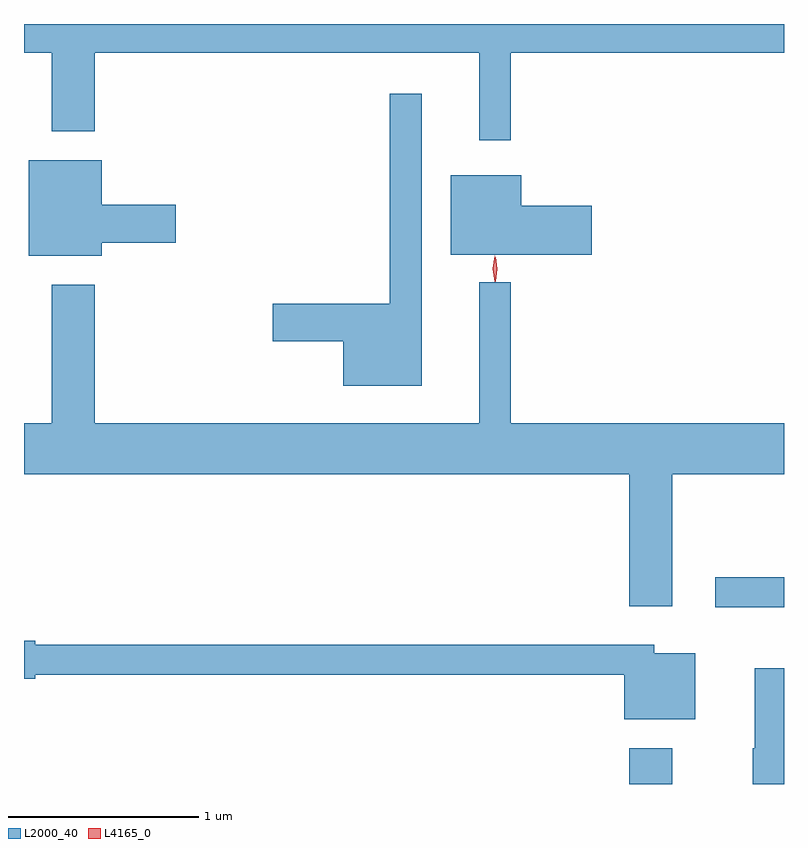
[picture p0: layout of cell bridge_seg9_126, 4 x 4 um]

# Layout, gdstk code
import gdstk
lib = gdstk.Library(unit=1e-6, precision=1e-09)
def R(c, l, rs):  # rectangles x0, y0, x1, y1
    for r in rs: c.add(gdstk.rectangle(r[:2], r[2:], *l))
def P(c, l, *ps):  # polygons
    for p in ps: c.add(gdstk.Polygon(p, *l))
L2000_40 = (2000, 40)
L4165_0 = (4165, 0)

bridge_seg9_126 = lib.new_cell('bridge_seg9_126')
R(bridge_seg9_126, L2000_40, [(1301.641,2067.886,1301.869,2068.074), (1302.093,2068.816,1302.456,2068.974)])
P(bridge_seg9_126, L2000_40, [(1301.019,2071.736),(1302.456,2071.736),(1302.456,2071.886),(1298.456,2071.886),(1298.456,2071.736),(1298.601,2071.736),(1298.601,2071.321),(1298.829,2071.321),(1298.829,2071.736),(1300.851,2071.736),(1300.851,2071.273),(1301.019,2071.273)],
  [(1300.549,2071.518),(1300.381,2071.518),(1300.381,2070.414),(1299.766,2070.414),(1299.766,2070.216),(1300.136,2070.216),(1300.136,2069.981),(1300.549,2069.981)],
  [(1298.864,2070.736),(1299.254,2070.736),(1299.254,2070.934),(1298.864,2070.934),(1298.864,2071.169),(1298.481,2071.169),(1298.481,2070.666),(1298.864,2070.666)],
  [(1301.444,2070.929),(1301.074,2070.929),(1301.074,2071.089),(1300.701,2071.089),(1300.701,2070.671),(1301.444,2070.671)],
  [(1301.869,2069.516),(1302.456,2069.516),(1302.456,2069.784),(1301.019,2069.784),(1301.019,2070.528),(1300.851,2070.528),(1300.851,2069.784),(1298.829,2069.784),(1298.829,2070.514),(1298.601,2070.514),(1298.601,2069.784),(1298.456,2069.784),(1298.456,2069.516),(1301.641,2069.516),(1301.641,2068.821),(1301.869,2068.821)],
  [(1301.989,2068.574),(1301.774,2068.574),(1301.774,2068.619),(1298.514,2068.619),(1298.514,2068.639),(1298.456,2068.639),(1298.456,2068.441),(1298.514,2068.441),(1298.514,2068.461),(1301.616,2068.461),(1301.616,2068.226),(1301.989,2068.226)],
  [(1302.456,2068.494),(1302.301,2068.494),(1302.301,2068.075),(1302.291,2068.075),(1302.291,2067.886),(1302.456,2067.886)])
P(bridge_seg9_126, L4165_0, [(1300.934,2070.53),(1300.924,2070.598),(1300.933,2070.666),(1300.934,2070.666),(1300.934,2070.666),(1300.944,2070.598),(1300.936,2070.53),(1300.935,2070.53)],
  [(1300.938,2070.533),(1300.938,2070.533),(1300.928,2070.596),(1300.938,2070.66),(1300.938,2070.66),(1300.939,2070.66),(1300.948,2070.596),(1300.939,2070.533)])

lib.write_gds('bridge_seg9_126.gds')
